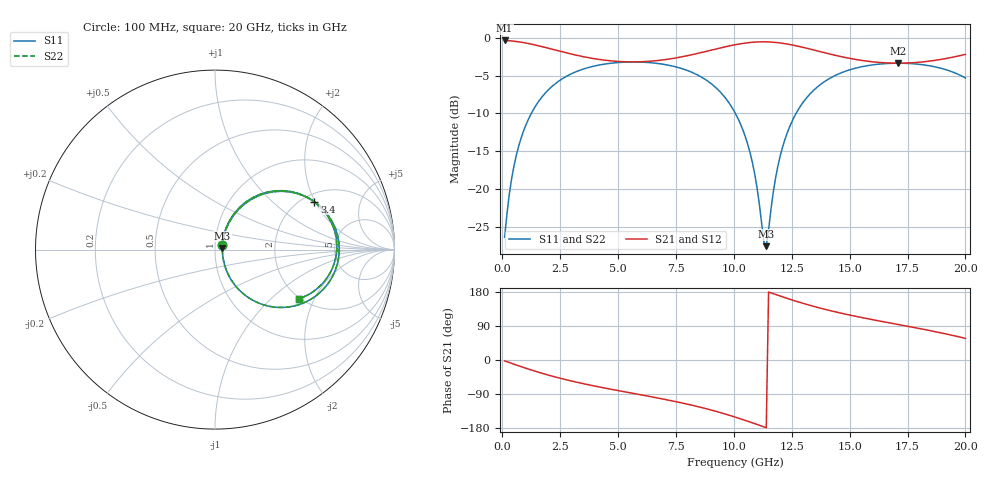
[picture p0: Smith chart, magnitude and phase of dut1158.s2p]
! Touchstone file exported from HFSS 2026.1.0
!  File:  C:/ffzhzh/LocalFiles/Ansys_Project_Files/temp_train_TSV_RDL_1158_1783311976_38820.aedt
!  Generated:  12:43:50 PM Jul  6, 2026
!  Design:  TSV_RDL
!  Project:  temp_train_TSV_RDL_1158_1783311976_38820
! Variables:
!  h_bsmrdl = 4.92um
!  h_ox = 20um
!  h_rdl = 5um
!  h_sub = 63.6um
!  h_tmrdl = 3.13um
!  h_tsv = 63.6um
!  h_via = 3um
!  l_bsmrdl = 640.99um
!  l_sub = 5494.42um
!  l_tmrdl = 773.16um
!  m_sub = 200um
!  pitch = 52.48um
!  r_tsv = 4.57um
!  s_tmrdl = 10um
!  w_bsmrdl = 13.61um
!  w_sub = 500um
!  w_tmrdl = 12.66um
!  x_tsv_center1 = 779.49um
!  x_tsv_center2 = 1434.09um
!  x_tsv_center3 = 2219.91um
!  x_tsv_center4 = 2874.51um
!  x_tsv_center5 = 3660.33um
!  x_tsv_center6 = 4314.93um
# GHz S MA R 50.000000
! Terminal data exported
! Port[1] = TM_RDL1_1_T1
! Port[2] = TM_RDL5_1_T1
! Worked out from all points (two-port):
!   200 points, 100 MHz to 20 GHz, reference 50 ohm
!   highest |S21| = -0.35 dB at 100 MHz (marker M1); lowest = -3.4 dB at 17.1 GHz (marker M2)
!   |S21| within 3 dB of the highest: start of sweep to 16.85 GHz; 17.33 GHz to end of sweep
!   lowest |S11| = -27.6 dB at 11.4 GHz (marker M3), VSWR 1.09, Z = 54.2 + j0.946 ohm
!   |S11| at or under -10 dB: start of sweep to 1.256 GHz; 10.06 GHz to 12.69 GHz (2.626 GHz wide, 23.1 % of centre)
!   |S22| runs from -27.5 to -3.2 dB; largest |S21 - S12| = 1.7e-14
!   S11 on the Smith chart (normalised r, x): 100 MHz: 1.08, +0.06; 3.4 GHz: 2.30, +1.97; 20 GHz: 1.97, -1.53
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0.1  0.04785 33.3  0.9607 -2.2  0.9607 -2.2  0.04785 33.3
! Gamma 0 0 0 0
! Port Impedance 50 0 50 0
0.5  0.1408 62.2  0.9501 -11.0  0.9501 -11.0  0.1408 62.2
1.1  0.2828 58.3  0.9187 -23.4  0.9187 -23.4  0.2828 58.3
2  0.4541 45.1  0.8525 -40.0  0.8525 -40.0  0.4541 45.1
3.4  0.614 25.8  0.7554 -61.2  0.7554 -61.2  0.614 25.8
3.5  0.6213 24.6  0.75 -62.5  0.75 -62.5  0.6213 24.6
5.1  0.6877 6.3  0.6964 -81.8  0.6964 -81.8  0.6877 6.3
6.8  0.6737 -12.1  0.7098 -101.3  0.7098 -101.3  0.6737 -12.1
8.7  0.5383 -35.8  0.806 -126.9  0.806 -126.9  0.5383 -35.8
10.1  0.309 -56.3  0.9028 -151.5  0.9028 -151.5  0.309 -56.3
10.8  0.1496 -61.9  0.9343 -165.7  0.9343 -165.7  0.1497 -61.8
11.3  0.0442 -20.6  0.9408 -176.4  0.9408 -176.4  0.04435 -20.4
11.4  0.04176 12.0  0.9403 -178.5  0.9403 -178.5  0.04193 12.0
11.8  0.1177 61.4  0.9321 173.0  0.9321 173.0  0.1178 61.3
12.1  0.188 63.1  0.9202 166.8  0.9202 166.8  0.188 63.1
12.7  0.3184 56.8  0.8851 154.9  0.8851 154.9  0.3184 56.8
13.4  0.4424 46.8  0.8345 142.3  0.8345 142.3  0.4424 46.8
15.1  0.6204 24.5  0.7264 117.3  0.7264 117.3  0.6204 24.5
16.7  0.6771 6.8  0.6812 98.2  0.6812 98.2  0.6771 6.9
17.1  0.6793 2.6  0.6794 93.6  0.6794 93.6  0.6793 2.7
18.6  0.6467 -13.5  0.7061 76.0  0.7061 76.0  0.6467 -13.4
20  0.5421 -30.3  0.7762 57.0  0.7762 57.0  0.5421 -30.3
